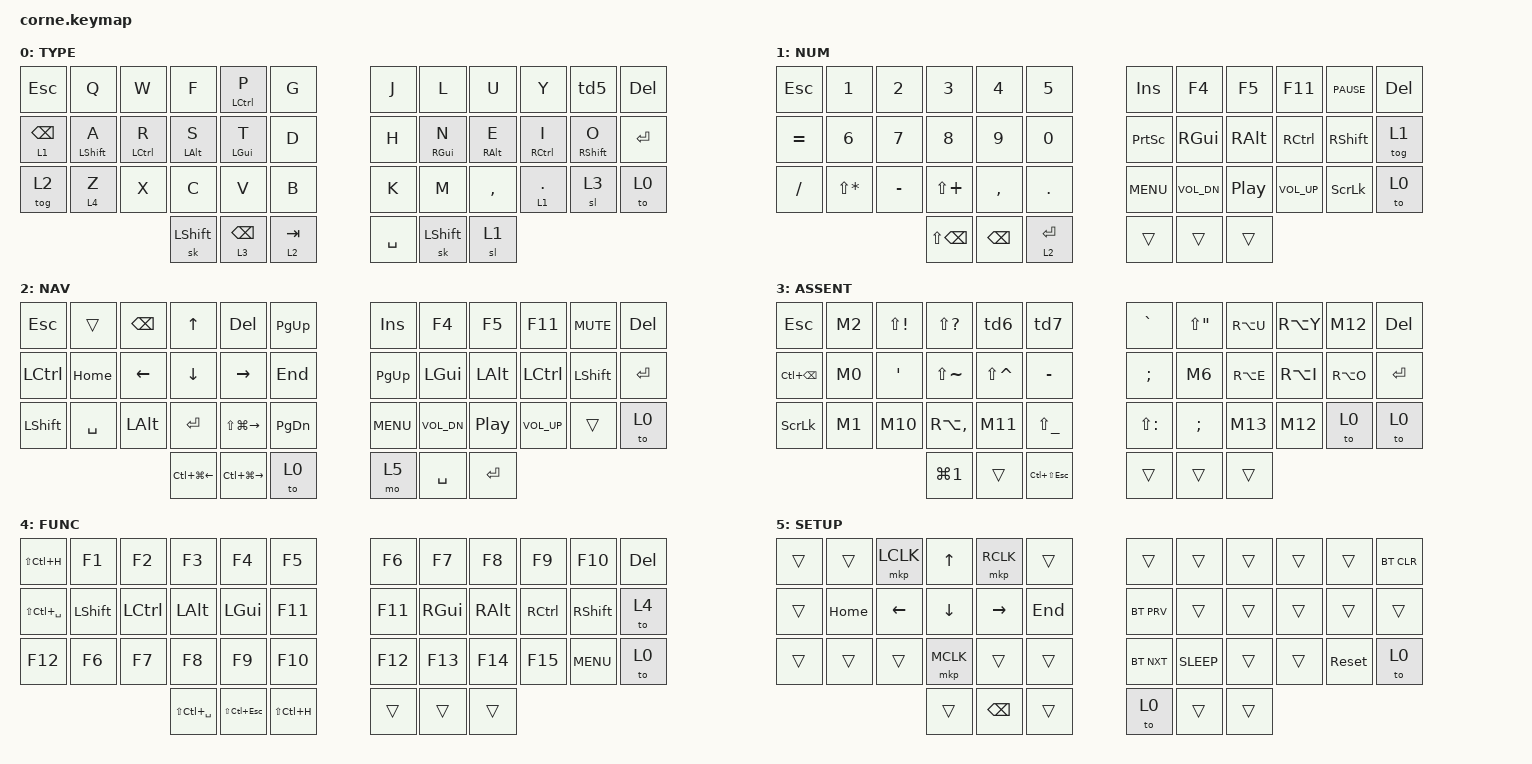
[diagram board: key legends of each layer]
#include <behaviors.dtsi>
#include <dt-bindings/zmk/bt.h>
#include <dt-bindings/zmk/keys.h>
#include <dt-bindings/zmk/mouse.h>

/ {
    macros {
        M0: a1 {
            compatible = "zmk,behavior-macro";
            #binding-cells = <0>;
            bindings = <&kp SQT &kp A>;
            label = "A1";
        };

        M1: M1 {
            compatible = "zmk,behavior-macro";
            #binding-cells = <0>;
            bindings = <&kp TILDE &kp A>;
            label = "M1";
        };

        M2: M2 {
            compatible = "zmk,behavior-macro";
            #binding-cells = <0>;
            bindings = <&kp CARET &kp A>;
            label = "M2";
        };

        M3: M3 {
            compatible = "zmk,behavior-macro";
            #binding-cells = <0>;
            bindings = <&kp GRAVE &kp A>;
            label = "M3";
        };

        M6: M6 {
            compatible = "zmk,behavior-macro";
            #binding-cells = <0>;
            bindings = <&kp CARET &kp E>;
            label = "M6";
        };

        M10: M10 {
            compatible = "zmk,behavior-macro";
            #binding-cells = <0>;
            bindings = <&kp SQT &kp SPACE>;
            label = "M10";
        };

        M11: M11 {
            compatible = "zmk,behavior-macro";
            #binding-cells = <0>;
            bindings = <&kp DQT &kp SPACE>;
            label = "M11";
        };

        M12: M12 {
            compatible = "zmk,behavior-macro";
            #binding-cells = <0>;
            bindings = <&kp TILDE &kp O>;
            label = "M12";
        };

        M13: M13 {
            compatible = "zmk,behavior-macro";
            #binding-cells = <0>;
            bindings = <&kp CARET &kp O>;
            label = "M13";
        };
    };

    behaviors {
        td6: td6 {
            compatible = "zmk,behavior-tap-dance";
            label = "TD6";
            #binding-cells = <0>;
            tapping-term-ms = <200>;
            bindings =
                <&kp LEFT_PARENTHESIS>,
                <&kp LEFT_BRACKET>,
                <&kp LEFT_BRACE>;
        };

        td7: td7 {
            compatible = "zmk,behavior-tap-dance";
            label = "TD7";
            #binding-cells = <0>;
            bindings =
                <&kp RIGHT_PARENTHESIS>,
                <&kp RIGHT_BRACKET>,
                <&kp RIGHT_BRACE>;
        };

        td5: td5 {
            compatible = "zmk,behavior-tap-dance";
            label = "TD5";
            #binding-cells = <0>;
            bindings = <&kp SLASH>, <&kp NON_US_BACKSLASH>, <&kp PIPE>;
        };

        bhm: bhm {
            compatible = "zmk,behavior-hold-tap";
            label = "BHM";
            bindings = <&kp>, <&kp>;

            #binding-cells = <2>;
            tapping-term-ms = <400>;
            quick-tap-ms = <0>;
            flavor = "balanced";
        };
    };

    combos {
        compatible = "zmk,combos";

        esc {
            bindings = <&kp ESC>;
            key-positions = <1 2>;
        };

        del {
            bindings = <&kp DELETE>;
            key-positions = <4 5>;
        };

        ctr_shft_esc {
            bindings = <&kp LC(LS(ESC))>;
            key-positions = <26 27 28>;
        };

        question {
            bindings = <&kp QUESTION>;
            key-positions = <2 3>;
        };
    };

    keymap {
        compatible = "zmk,keymap";

        TYPE {
            bindings = <
&kp ESC          &kp Q              &kp W                &kp F            &bhm LEFT_CONTROL P  &kp G        &kp J      &kp L             &kp U             &kp Y                 &td5                &kp DEL
&lt 1 BACKSPACE  &bhm LEFT_SHIFT A  &bhm LEFT_CONTROL R  &bhm LEFT_ALT S  &bhm LEFT_GUI T      &kp D        &kp H      &bhm RIGHT_GUI N  &bhm RIGHT_ALT E  &bhm RIGHT_CONTROL I  &bhm RIGHT_SHIFT O  &kp RET
&tog 2           &lt 4 Z            &kp X                &kp C            &kp V                &kp B        &kp K      &kp M             &kp COMMA         &lt 1 DOT             &sl 3               &to 0
                                                         &sk LSHIFT       &lt 3 BACKSPACE      &lt 2 TAB    &kp SPACE  &sk LEFT_SHIFT    &sl 1
            >;
        };

        NUM {
            bindings = <
&kp ESC    &kp N1        &kp N2     &kp N3        &kp N4     &kp N5         &kp INS          &kp F4        &kp F5            &kp F11            &kp C_PAUSE     &kp DEL
&kp EQUAL  &kp N6        &kp N7     &kp N8        &kp N9     &kp N0         &kp PRINTSCREEN  &kp RGUI      &kp RIGHT_ALT     &kp RIGHT_CONTROL  &kp RSHFT       &tog 1
&kp FSLH   &kp LS(STAR)  &kp MINUS  &kp LS(PLUS)  &kp COMMA  &kp DOT        &kp C_MENU       &kp C_VOL_DN  &kp C_PLAY_PAUSE  &kp C_VOLUME_UP    &kp SCROLLLOCK  &to 0
                                    &kp LS(BSPC)  &kp BSPC   &lt 2 ENTER    &trans           &trans        &trans
            >;
        };

        NAV {
            bindings = <
&kp ESC    &trans     &kp BSPC  &kp UP                  &kp DEL            &kp PG_UP    &kp INSERT  &kp F4        &kp F5            &kp F11          &kp K_MUTE  &kp DEL
&kp LCTRL  &kp HOME   &kp LEFT  &kp DOWN                &kp RIGHT          &kp END      &kp PG_UP   &kp LGUI      &kp LALT          &kp LCTRL        &kp LSHFT   &kp ENTER
&kp LSHFT  &kp SPACE  &kp LALT  &kp RET                 &kp LS(LG(RIGHT))  &kp PG_DN    &kp C_MENU  &kp C_VOL_DN  &kp C_PLAY_PAUSE  &kp C_VOLUME_UP  &trans      &to 0
                                &kp LC(LG(LEFT_ARROW))  &kp LC(LG(RIGHT))  &to 0        &mo 5      &kp SPACE     &kp RET
            >;
        };

        ASSENT {
            bindings = <
&kp ESC            &M2  &kp LS(EXCL)  &kp LS(QMARK)  &td6           &td7               &kp GRAVE      &kp LS(DQT)  &kp RA(U)  &kp RA(Y)  &M12       &kp DEL
&kp LC(BACKSPACE)  &M0  &kp SQT       &kp LS(TILDE)  &kp LS(CARET)  &kp MINUS          &kp SEMI       &M6          &kp RA(E)  &kp RA(I)  &kp RA(O)  &kp ENTER
&kp SCROLLLOCK     &M1  &M10          &kp RA(COMMA)  &M11           &kp LS(UNDER)      &kp LS(COLON)  &kp SEMI     &M13       &M12       &to 0      &to 0
                                      &kp LG(N1)     &trans         &kp LC(LS(ESC))    &trans         &trans       &trans
            >;
        };

        FUNC {
            bindings = <
&kp LS(LC(H))      &kp F1     &kp F2     &kp F3             &kp F4           &kp F5           &kp F6   &kp F7    &kp F8    &kp F9     &kp F10     &kp DEL
&kp LS(LC(SPACE))  &kp LSHFT  &kp LCTRL  &kp LALT           &kp LGUI         &kp F11          &kp F11  &kp RGUI  &kp RALT  &kp RCTRL  &kp RSHFT   &to 4
&kp F12            &kp F6     &kp F7     &kp F8             &kp F9           &kp F10          &kp F12  &kp F13   &kp F14   &kp F15    &kp C_MENU  &to 0
                                         &kp LS(LC(SPACE))  &kp LS(LC(ESC))  &kp LS(LC(H))    &trans   &trans    &trans
            >;
        };

        SETUP {
            bindings = <
&trans  &trans    &mkp LCLK       &kp UP_ARROW    &mkp RCLK  &trans     &trans      &trans       &trans  &trans  &trans      &bt BT_CLR
&trans  &kp HOME  &kp LEFT_ARROW  &kp DOWN_ARROW  &kp RIGHT  &kp END    &bt BT_PRV  &trans       &trans  &trans  &trans      &trans
&trans  &trans    &trans          &mkp MCLK       &trans     &trans     &bt BT_NXT  &kp C_SLEEP  &trans  &trans  &sys_reset  &to 0
                                  &trans          &kp BSPC   &trans     &to 0       &trans       &trans
            >;
        };
    };
};
